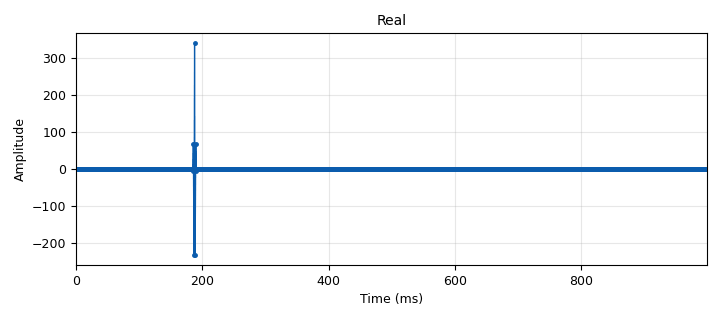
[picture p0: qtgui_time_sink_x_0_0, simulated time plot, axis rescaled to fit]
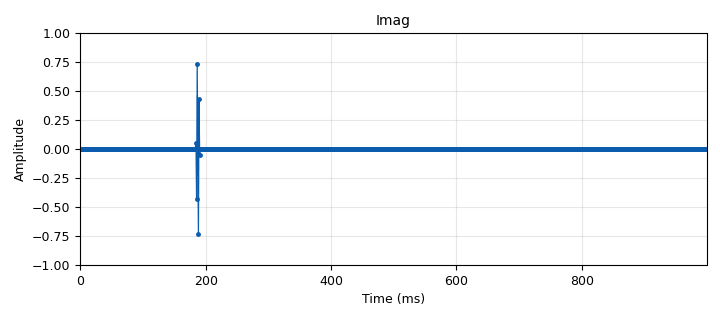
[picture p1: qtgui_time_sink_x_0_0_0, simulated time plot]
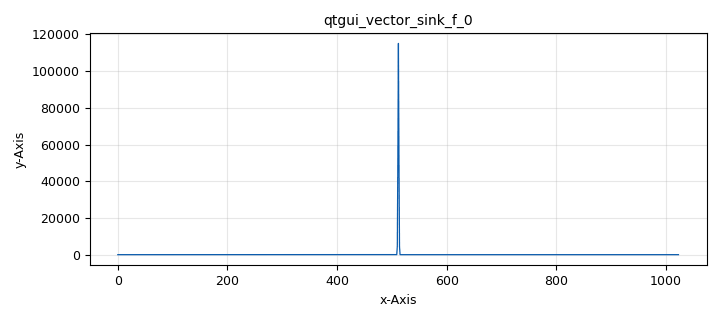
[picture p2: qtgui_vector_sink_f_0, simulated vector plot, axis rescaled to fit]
<?xml version='1.0' encoding='utf-8'?>
<?grc format='1' created='3.7.12'?>
<flow_graph>
<block>
<key>options</key>
<param><key>id</key><value>top_block</value></param>
<param><key>generate_options</key><value>qt_gui</value></param>
</block>
<block>
<key>variable_qtgui_range</key>
<param><key>id</key><value>amp</value></param>
<param><key>value</key><value>1</value></param>
<param><key>orient</key><value>Qt.Horizontal</value></param>
<param><key>start</key><value>0</value></param>
<param><key>step</key><value>1</value></param>
<param><key>stop</key><value>100</value></param>
</block>
<block>
<key>variable_qtgui_range</key>
<param><key>id</key><value>freq</value></param>
<param><key>value</key><value>10</value></param>
<param><key>orient</key><value>Qt.Horizontal</value></param>
<param><key>start</key><value>0</value></param>
<param><key>step</key><value>1</value></param>
<param><key>stop</key><value>64</value></param>
</block>
<block>
<key>variable</key>
<param><key>id</key><value>sample_rate</value></param>
<param><key>value</key><value>32e6</value></param>
</block>
<block>
<key>variable</key>
<param><key>id</key><value>vector_len</value></param>
<param><key>value</key><value>1024</value></param>
</block>
<block>
<key>analog_sig_source_x</key>
<param><key>id</key><value>analog_sig_source_x_0</value></param>
<param><key>amp</key><value>amp</value></param>
<param><key>freq</key><value>freq</value></param>
<param><key>offset</key><value>0</value></param>
<param><key>type</key><value>float</value></param>
<param><key>samp_rate</key><value>sample_rate</value></param>
<param><key>waveform</key><value>analog.GR_COS_WAVE</value></param>
</block>
<block>
<key>blocks_complex_to_imag</key>
<param><key>id</key><value>blocks_complex_to_imag_0</value></param>
</block>
<block>
<key>blocks_complex_to_mag_squared</key>
<param><key>id</key><value>blocks_complex_to_mag_squared_0</value></param>
<param><key>vlen</key><value>vector_len</value></param>
</block>
<block>
<key>blocks_complex_to_real</key>
<param><key>id</key><value>blocks_complex_to_real_0</value></param>
</block>
<block>
<key>blocks_file_sink</key>
<param><key>id</key><value>blocks_file_sink_0</value></param>
<param><key>file</key><value>/home/nhatpham/Documents/out</value></param>
<param><key>type</key><value>float</value></param>
<param><key>vlen</key><value>vector_len</value></param>
</block>
<block>
<key>blocks_stream_to_vector</key>
<param><key>id</key><value>blocks_stream_to_vector_0</value></param>
<param><key>type</key><value>float</value></param>
<param><key>num_items</key><value>vector_len</value></param>
</block>
<block>
<key>blocks_throttle</key>
<param><key>id</key><value>blocks_throttle_0</value></param>
<param><key>samples_per_second</key><value>64e6</value></param>
<param><key>type</key><value>float</value></param>
</block>
<block>
<key>blocks_vector_to_stream</key>
<param><key>id</key><value>blocks_vector_to_stream_0</value></param>
<param><key>type</key><value>complex</value></param>
<param><key>num_items</key><value>vector_len</value></param>
</block>
<block>
<key>fft_vxx</key>
<param><key>id</key><value>fft_vxx_0</value></param>
<param><key>fft_size</key><value>vector_len</value></param>
<param><key>forward</key><value>True</value></param>
<param><key>type</key><value>float</value></param>
<param><key>shift</key><value>True</value></param>
<param><key>window</key><value>window.blackmanharris(vector_len)</value></param>
</block>
<block>
<key>ieee802_15_4_shcs_mac</key>
<param><key>id</key><value>ieee802_15_4_shcs_mac_0</value></param>
<param><key>debug</key><value>True</value></param>
<param><key>fft_len</key><value>vector_len</value></param>
<param><key>mac_addr</key><value>0</value></param>
<param><key>nwk_dev_type</key><value>True</value></param>
<param><key>suc_id</key><value>101</value></param>
</block>
<block>
<key>qtgui_freq_sink_x</key>
<param><key>id</key><value>qtgui_freq_sink_x_1</value></param>
<param><key>bw</key><value>vector_len</value></param>
<param><key>fc</key><value>0</value></param>
<param><key>_enabled</key><value>0</value></param>
<param><key>fftsize</key><value>vector_len</value></param>
<param><key>showports</key><value>True</value></param>
<param><key>type</key><value>float</value></param>
<param><key>wintype</key><value>firdes.WIN_BLACKMAN_hARRIS</value></param>
</block>
<block>
<key>qtgui_time_sink_x</key>
<param><key>id</key><value>qtgui_time_sink_x_0</value></param>
<param><key>_enabled</key><value>0</value></param>
<param><key>color1</key><value>"blue"</value></param>
<param><key>label1</key><value></value></param>
<param><key>marker1</key><value>0</value></param>
<param><key>size</key><value>vector_len</value></param>
<param><key>srate</key><value>vector_len</value></param>
<param><key>type</key><value>float</value></param>
</block>
<block>
<key>qtgui_time_sink_x</key>
<param><key>id</key><value>qtgui_time_sink_x_0_0</value></param>
<param><key>color1</key><value>"blue"</value></param>
<param><key>label1</key><value></value></param>
<param><key>marker1</key><value>0</value></param>
<param><key>name</key><value>"Real"</value></param>
<param><key>size</key><value>vector_len</value></param>
<param><key>srate</key><value>vector_len</value></param>
<param><key>type</key><value>float</value></param>
</block>
<block>
<key>qtgui_time_sink_x</key>
<param><key>id</key><value>qtgui_time_sink_x_0_0_0</value></param>
<param><key>color1</key><value>"blue"</value></param>
<param><key>label1</key><value></value></param>
<param><key>marker1</key><value>0</value></param>
<param><key>name</key><value>"Imag"</value></param>
<param><key>size</key><value>vector_len</value></param>
<param><key>srate</key><value>vector_len</value></param>
<param><key>type</key><value>float</value></param>
</block>
<block>
<key>qtgui_vector_sink_f</key>
<param><key>id</key><value>qtgui_vector_sink_f_0</value></param>
<param><key>showports</key><value>True</value></param>
<param><key>vlen</key><value>vector_len</value></param>
<param><key>x_start</key><value>0</value></param>
<param><key>x_step</key><value>1.0</value></param>
</block>
<connection><source_block_id>analog_sig_source_x_0</source_block_id><sink_block_id>blocks_throttle_0</sink_block_id><source_key>0</source_key><sink_key>0</sink_key></connection>
<connection><source_block_id>blocks_complex_to_imag_0</source_block_id><sink_block_id>qtgui_time_sink_x_0_0_0</sink_block_id><source_key>0</source_key><sink_key>0</sink_key></connection>
<connection><source_block_id>blocks_complex_to_mag_squared_0</source_block_id><sink_block_id>blocks_file_sink_0</sink_block_id><source_key>0</source_key><sink_key>0</sink_key></connection>
<connection><source_block_id>blocks_complex_to_mag_squared_0</source_block_id><sink_block_id>ieee802_15_4_shcs_mac_0</sink_block_id><source_key>0</source_key><sink_key>0</sink_key></connection>
<connection><source_block_id>blocks_complex_to_mag_squared_0</source_block_id><sink_block_id>qtgui_vector_sink_f_0</sink_block_id><source_key>0</source_key><sink_key>0</sink_key></connection>
<connection><source_block_id>blocks_complex_to_real_0</source_block_id><sink_block_id>qtgui_time_sink_x_0_0</sink_block_id><source_key>0</source_key><sink_key>0</sink_key></connection>
<connection><source_block_id>blocks_stream_to_vector_0</source_block_id><sink_block_id>fft_vxx_0</sink_block_id><source_key>0</source_key><sink_key>0</sink_key></connection>
<connection><source_block_id>blocks_throttle_0</source_block_id><sink_block_id>blocks_stream_to_vector_0</sink_block_id><source_key>0</source_key><sink_key>0</sink_key></connection>
<connection><source_block_id>blocks_throttle_0</source_block_id><sink_block_id>qtgui_freq_sink_x_1</sink_block_id><source_key>0</source_key><sink_key>0</sink_key></connection>
<connection><source_block_id>blocks_throttle_0</source_block_id><sink_block_id>qtgui_time_sink_x_0</sink_block_id><source_key>0</source_key><sink_key>0</sink_key></connection>
<connection><source_block_id>blocks_vector_to_stream_0</source_block_id><sink_block_id>blocks_complex_to_imag_0</sink_block_id><source_key>0</source_key><sink_key>0</sink_key></connection>
<connection><source_block_id>blocks_vector_to_stream_0</source_block_id><sink_block_id>blocks_complex_to_real_0</sink_block_id><source_key>0</source_key><sink_key>0</sink_key></connection>
<connection><source_block_id>fft_vxx_0</source_block_id><sink_block_id>blocks_complex_to_mag_squared_0</sink_block_id><source_key>0</source_key><sink_key>0</sink_key></connection>
<connection><source_block_id>fft_vxx_0</source_block_id><sink_block_id>blocks_vector_to_stream_0</sink_block_id><source_key>0</source_key><sink_key>0</sink_key></connection>
</flow_graph>
